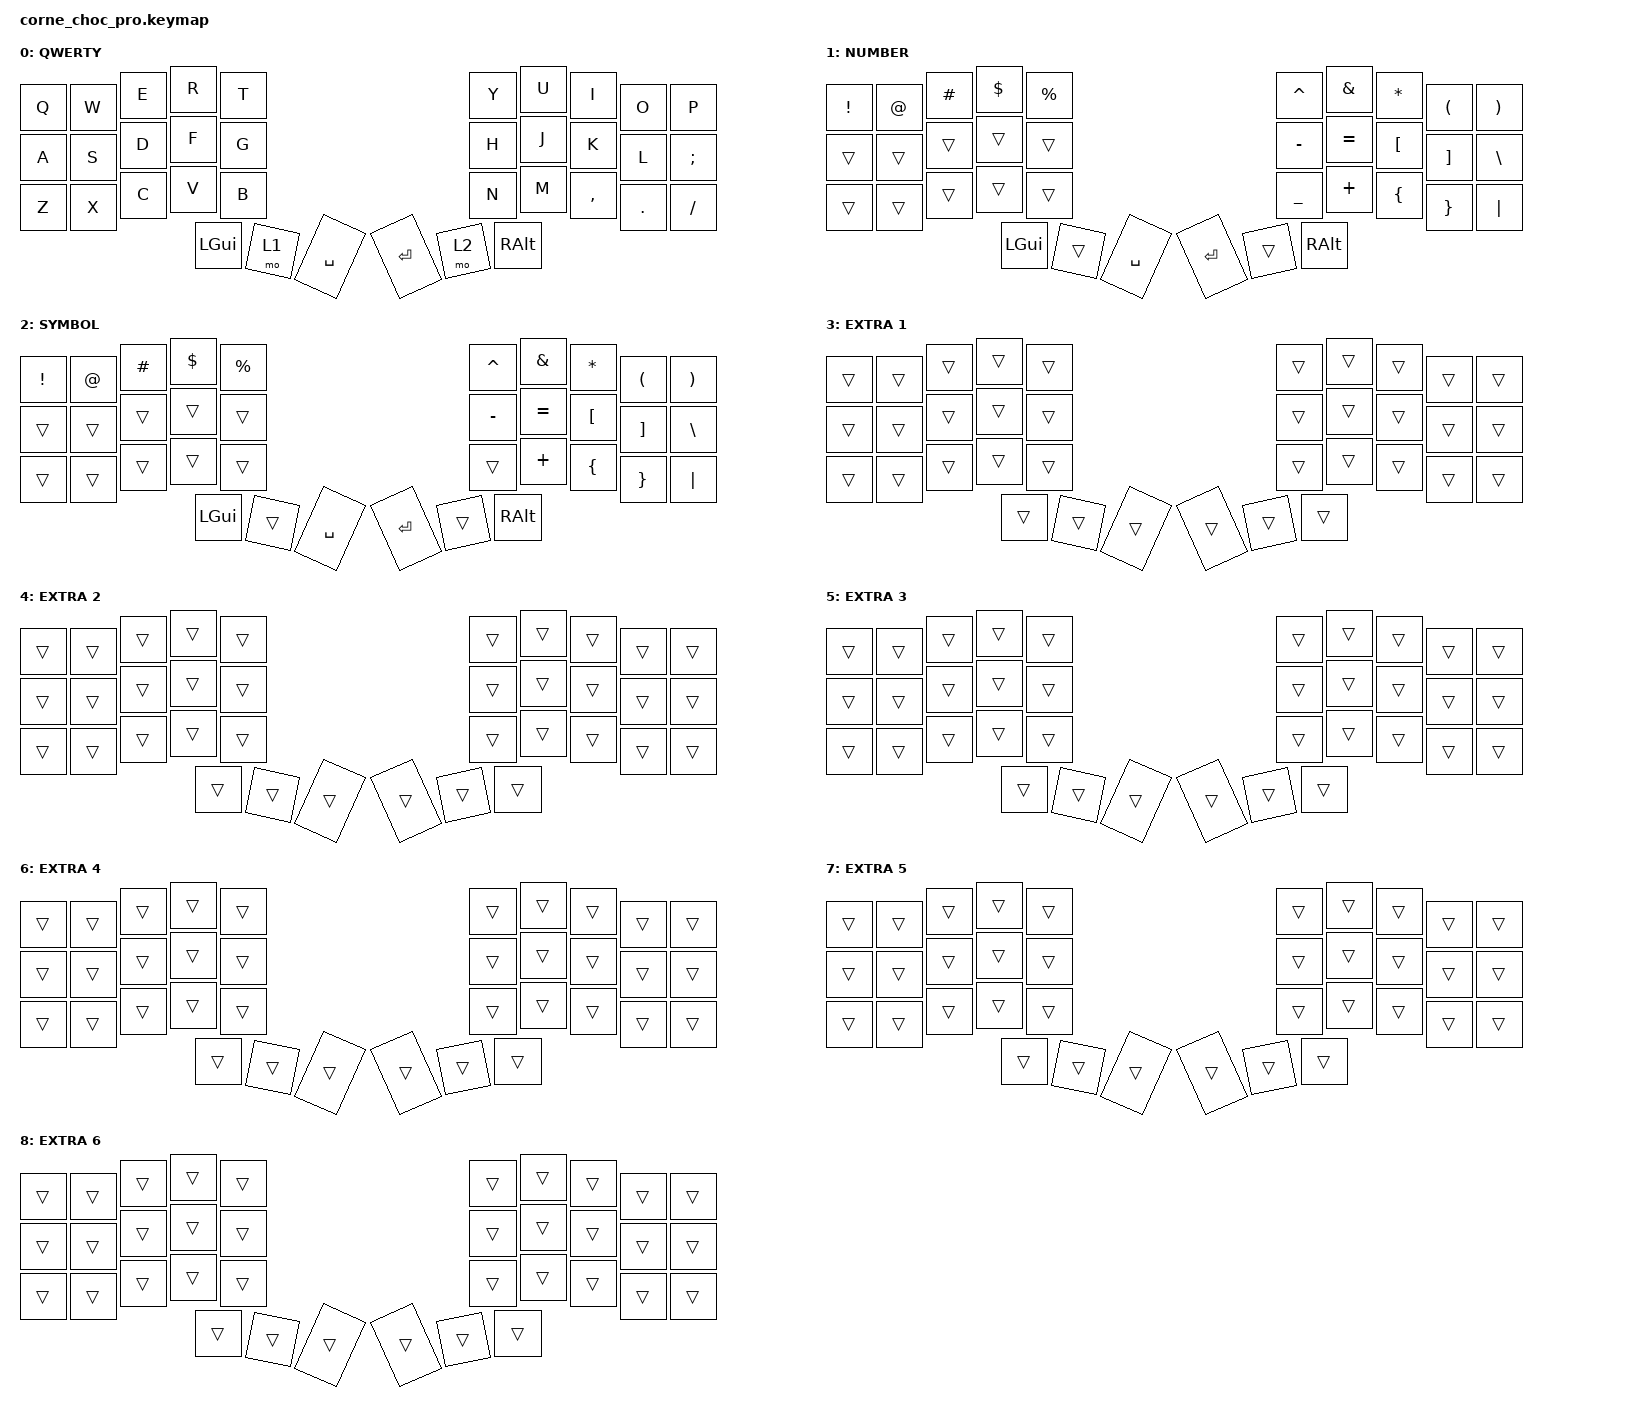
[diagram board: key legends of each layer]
/*
 * Copyright (c) 2020 The ZMK Contributors
 *
 * SPDX-License-Identifier: MIT
 */

#include <behaviors.dtsi>
#include <dt-bindings/zmk/keys.h>
#include <dt-bindings/zmk/bt.h>
#include <dt-bindings/zmk/rgb.h>
#include <dt-bindings/zmk/outputs.h>

/ {
    chosen {
        zmk,physical-layout = &default_layout;
    };
};

/ {
    keymap {
        compatible = "zmk,keymap";

        default_layer {
            display-name = "QWERTY";
            // --------------------------------------------------------------------------------
            // |  TAB |  Q  |  W  |  E  |  R  |  T  |  MUTE |  PP   |  Y  |  U   |  I  |  O  |  P  | BSPC |
            // | CTRL |  A  |  S  |  D  |  F  |  G  |  LALT |  RALT |  H  |  J   |  K  |  L  |  ;  |  '   |
            // | SHFT |  Z  |  X  |  C  |  V  |  B  |               |  N  |  M   |  ,  |  .  |  /  | ESC  |
            //                    | GUI | LWR | SPC |               | ENT | RSE  | ALT |
            bindings = <
                &kp Q &kp W &kp E &kp R &kp T                     &kp Y &kp U  &kp I     &kp O   &kp P    
                &kp A &kp S &kp D &kp F &kp G                     &kp H &kp J  &kp K     &kp L   &kp SEMI 
                &kp Z &kp X &kp C &kp V &kp B                     &kp N &kp M  &kp COMMA &kp DOT &kp FSLH 
                         &kp LGUI &mo 1 &kp SPACE              &kp RET &mo 2 &kp RALT
            >;
           // sensor-bindings = <&inc_dec_kp C_VOL_DN C_VOL_UP &inc_dec_kp PG_UP PG_DN &inc_dec_kp C_PREV C_NEXT &inc_dec_kp C_BRI_DN C_BRI_UP>;
        };

        lower_layer {
            display-name = "NUMBER";
            // -----------------------------------------------------------------------------------------
            // |  TAB |  1  |  2  |  3  |  4  |  5    |  LCTRL | RCTRL |  6  |  7  |  8  |  9  |  0  | BSPC |
            // | CTRL | BT1 | BT2 | BT3 | BT4 | BT5   |  LALT  | RALT  | LFT | DWN |  UP | RGT |     |      |
            // | SHFT | BTCR| RGB | RST | BOOT| Unlock|        |       |     |     |     |     |     |      |
            //                    | GUI |     | SPC   |        | ENT   |     | ALT |
            bindings = <
               &kp EXCL &kp AT &kp HASH &kp DLLR &kp PRCNT   &kp CARET &kp AMPS &kp ASTRK &kp LPAR &kp RPAR 
               &trans   &trans &trans   &trans   &trans      &kp MINUS &kp EQUAL &kp LBKT &kp RBKT &kp BSLH 
               &trans   &trans &trans   &trans   &trans      &kp UNDER &kp PLUS  &kp LBRC &kp RBRC &kp PIPE 
                        &kp LGUI &trans   &kp SPACE                     &kp RET   &trans    &kp RALT
           >;
        };
        
        

        raise_layer {
            display-name = "SYMBOL";
            // -----------------------------------------------------------------------------------------
            // |  TAB |  !  |  @  |  #  |  $  |  %  | LCTRL | RCTRL |  ^  |  &  |  *  |  (  |  )  | BSPC |
            // | CTRL |     |     |     |     |     |  LALT | RALT  |  -  |  =  |  [  |  ]  |  \  |  `   |
            // | SHFT |     |     |     |     |     |               |  _  |  +  |  {  |  }  | "|" |  ~   |
            //                    | GUI |     | SPC |               | ENT |     | ALT |
            bindings = <
                &kp EXCL &kp AT &kp HASH &kp DLLR &kp PRCNT   &kp CARET &kp AMPS &kp ASTRK &kp LPAR &kp RPAR 
                &trans   &trans &trans   &trans   &trans      &kp MINUS &kp EQUAL &kp LBKT &kp RBKT &kp BSLH 
                &trans   &trans &trans   &trans   &trans      &trans &kp PLUS  &kp LBRC &kp RBRC &kp PIPE 
                          &kp LGUI &trans   &kp SPACE                     &kp RET   &trans    &kp RALT
            >;
        };
        

        extra_layer_1 {
            display-name = "EXTRA 1";
            bindings = <
                &trans &trans &trans &trans &trans  &trans &trans &trans &trans &trans 
                &trans &trans &trans &trans &trans  &trans &trans &trans &trans &trans 
                &trans &trans &trans &trans &trans  &trans &trans &trans &trans &trans 
                    &trans &trans &trans               &trans &trans &trans       
            >;
        };

        extra_layer_2 {
            display-name = "EXTRA 2";
            bindings = <
                &trans &trans &trans &trans &trans  &trans &trans &trans &trans &trans 
                &trans &trans &trans &trans &trans  &trans &trans &trans &trans &trans 
                &trans &trans &trans &trans &trans  &trans &trans &trans &trans &trans 
                    &trans &trans &trans               &trans &trans &trans     
            >;
        };

        extra_layer_3 {
            display-name = "EXTRA 3";
            bindings = <
                &trans &trans &trans &trans &trans  &trans &trans &trans &trans &trans 
                &trans &trans &trans &trans &trans  &trans &trans &trans &trans &trans 
                &trans &trans &trans &trans &trans  &trans &trans &trans &trans &trans 
                    &trans &trans &trans               &trans &trans &trans     
            >;
        };

        extra_layer_4 {
            display-name = "EXTRA 4";
            bindings = <
                &trans &trans &trans &trans &trans  &trans &trans &trans &trans &trans 
                &trans &trans &trans &trans &trans  &trans &trans &trans &trans &trans 
                &trans &trans &trans &trans &trans  &trans &trans &trans &trans &trans 
                    &trans &trans &trans               &trans &trans &trans       
            >;
        };

        extra_layer_5 {
            display-name = "EXTRA 5";
            bindings = <
                &trans &trans &trans &trans &trans  &trans &trans &trans &trans &trans 
                &trans &trans &trans &trans &trans  &trans &trans &trans &trans &trans 
                &trans &trans &trans &trans &trans  &trans &trans &trans &trans &trans 
                    &trans &trans &trans               &trans &trans &trans        
            >;
        };

        extra_layer_6 {
            display-name = "EXTRA 6";
            bindings = <
                &trans &trans &trans &trans &trans  &trans &trans &trans &trans &trans 
                &trans &trans &trans &trans &trans  &trans &trans &trans &trans &trans 
                &trans &trans &trans &trans &trans  &trans &trans &trans &trans &trans 
                    &trans &trans &trans               &trans &trans &trans         
            >;
        };

        
    };

};


